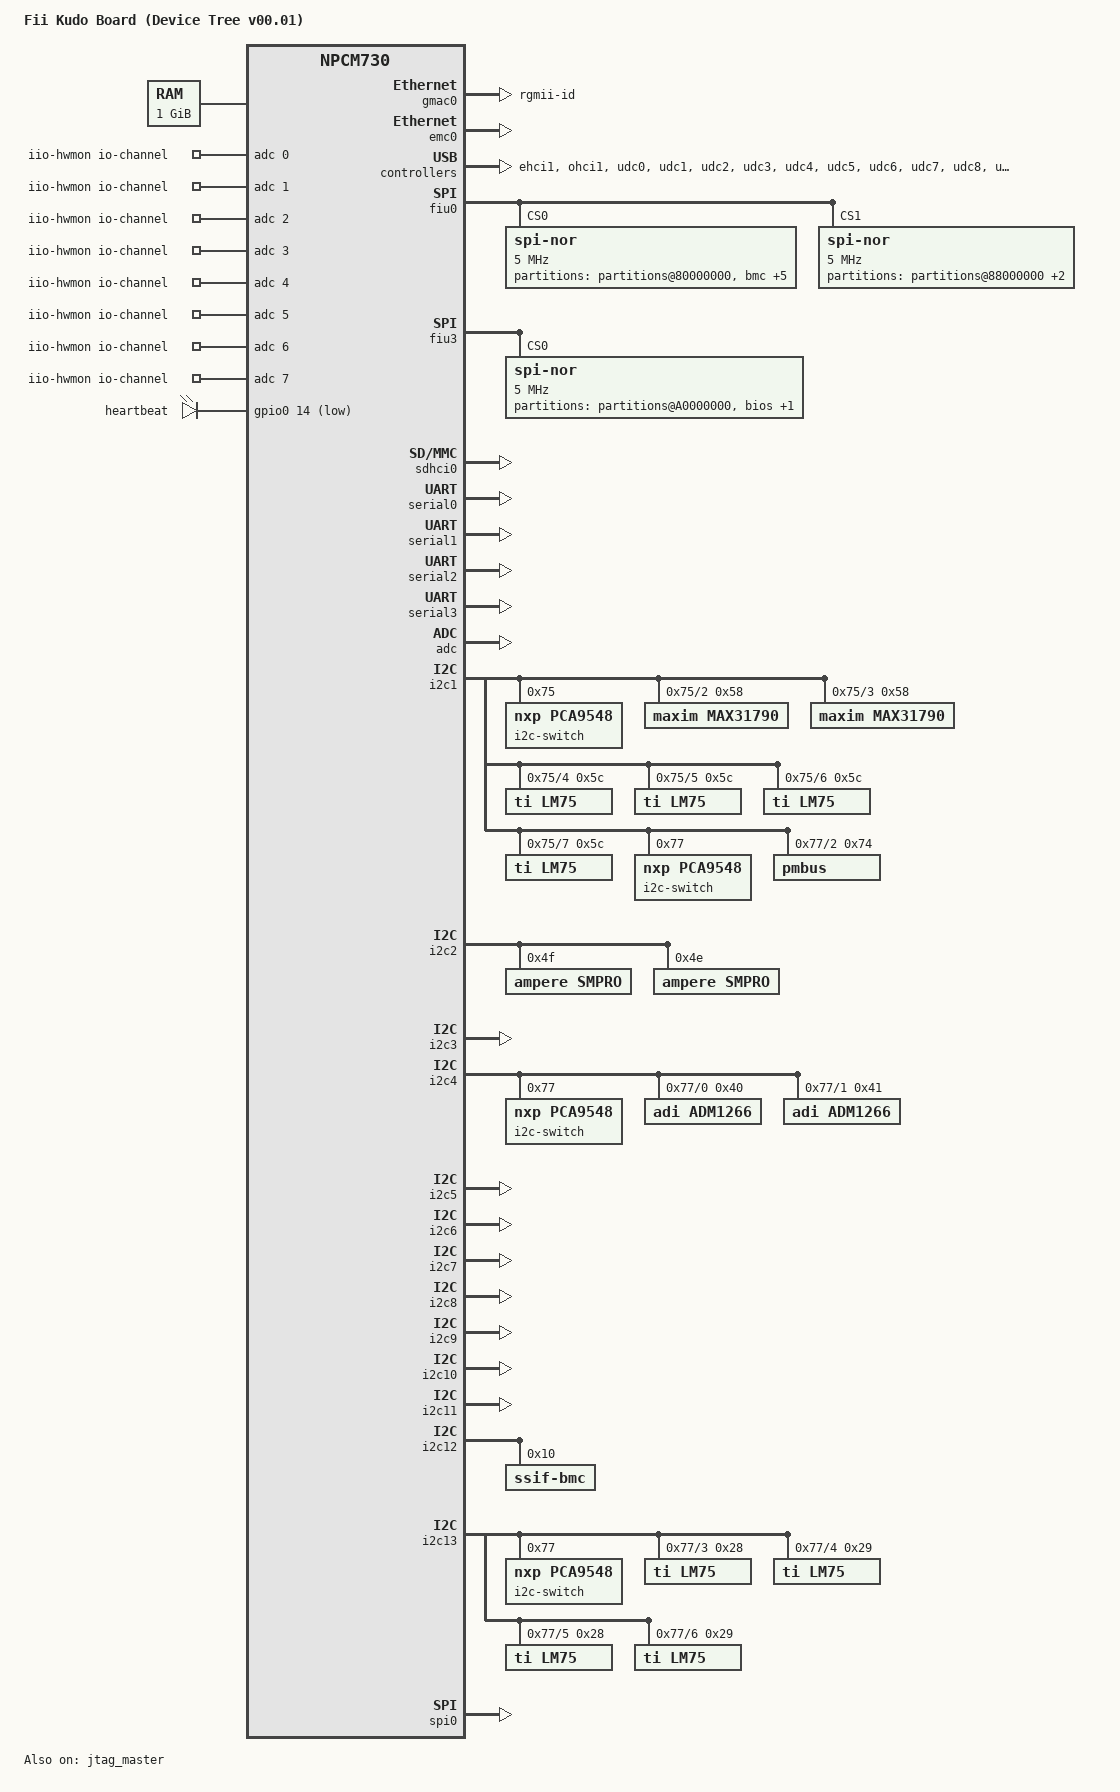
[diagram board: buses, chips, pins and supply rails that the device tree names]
// SPDX-License-Identifier: GPL-2.0
// Copyright (c) 2020 Fii USA Inc. Mustatfa Shehabi <Mustafa.Shehabi@fii-na.com>

/dts-v1/;
#include "nuvoton-npcm730.dtsi"
#include "nuvoton-npcm730-kudo-gpio.dtsi"

/ {
	model = "Fii Kudo Board (Device Tree v00.01)";
	compatible = "nuvoton,npcm730";

	aliases {
		ethernet0 = &emc0;
		ethernet1 = &gmac0;
		serial0 = &serial0;
		serial1 = &serial1;
		serial2 = &serial2;
		serial3 = &serial3;
		udc0 = &udc0;
		udc1 = &udc1;
		udc2 = &udc2;
		udc3 = &udc3;
		udc4 = &udc4;
		udc5 = &udc5;
		udc6 = &udc6;
		udc7 = &udc7;
		udc8 = &udc8;
		udc9 = &udc9;
		emmc0 = &sdhci0;
		vdma = &vdma;
		i2c0 = &i2c0;
		i2c1 = &i2c1;
		i2c2 = &i2c2;
		i2c3 = &i2c3;
		i2c4 = &i2c4;
		i2c5 = &i2c5;
		i2c6 = &i2c6;
		i2c7 = &i2c7;
		i2c8 = &i2c8;
		i2c9 = &i2c9;
		i2c10 = &i2c10;
		i2c11 = &i2c11;
		i2c12 = &i2c12;
		i2c13 = &i2c13;
		spi0 = &spi0;
		spi1 = &spi1;
		fiu0 = &fiu0;
		fiu1 = &fiu3;
	};

	chosen {
		stdout-path = &serial3;
	};

	memory {
		reg = <0 0x40000000>;
	};

	iio-hwmon {
		compatible = "iio-hwmon";
		io-channels = <&adc 0>, <&adc 1>, <&adc 2>, <&adc 3>,
			<&adc 4>, <&adc 5>, <&adc 6>, <&adc 7>;
	};

	jtag_master {
		compatible = "nuvoton,npcm750-jtag-master";
		#address-cells = <1>;
		#size-cells = <1>;

		dev-num = <0>; /* /dev/jtag0 */
		mode = "pspi"; /* pspi or gpio */

		pspi-controller = <2>; /* pspi2 */
		reg = <0xf0201000 0x1000>;
		interrupts = <GIC_SPI 28 IRQ_TYPE_LEVEL_HIGH>;
		clocks = <&clk NPCM7XX_CLK_APB5>;

		jtag-gpios = <&gpio0 19 GPIO_ACTIVE_HIGH>, /* TCK */
				<&gpio0 18 GPIO_ACTIVE_HIGH>, /* TDI */
				<&gpio0 17 GPIO_ACTIVE_HIGH>, /* TDO */
				<&gpio0 16 GPIO_ACTIVE_HIGH>; /* TMS */
		status = "okay";
	};

	ahb {
		gmac0: eth@f0802000 {
			phy-mode = "rgmii-id";
			snps,eee-force-disable;
			status = "okay";
		};

		emc0: eth@f0825000 {
			status = "okay";
		};

		ehci1: usb@f0806000 {
			status = "okay";
		};

		ohci1: ohci@f0807000 {
			status = "okay";
		};

		udc0: udc@f0830000 {
			status = "okay";
		};

		udc1: udc@f0831000 {
			status = "okay";
		};

		udc2: udc@f0832000 {
			status = "okay";
		};

		udc3: udc@f0833000 {
			status = "okay";
		};

		udc4: udc@f0834000 {
			status = "okay";
		};

		udc5: udc@f0835000 {
			status = "okay";
		};

		udc6: udc@f0836000 {
			status = "okay";
		};

		udc7: udc@f0837000 {
			status = "okay";
		};

		udc8: udc@f0838000 {
			status = "okay";
		};

		udc9: udc@f0839000 {
			status = "okay";
		};

		aes: aes@f0858000 {
			status = "okay";
		};

		sha: sha@f085a000 {
			status = "okay";
		};

		fiu0: spi@fb000000 {
			pinctrl-names = "default";
			pinctrl-0 = <&spi0cs1_pins>;
			status = "okay";
			spi-nor@0 {
				compatible = "jedec,spi-nor";
				#address-cells = <1>;
				#size-cells = <1>;
				reg = <0>;
				spi-max-frequency = <5000000>;
				spi-rx-bus-width = <2>;
				partitions@80000000 {
					compatible = "fixed-partitions";
					#address-cells = <1>;
					#size-cells = <1>;
					bmc@0{
						label = "bmc";
						reg = <0x000000 0x2000000>;
					};
					u-boot@0 {
						label = "u-boot";
						reg = <0x0000000 0xC0000>;
						read-only;
					};
					u-boot-env@100000{
						label = "u-boot-env";
						reg = <0x00100000 0x40000>;
					};
					kernel@200000 {
						label = "kernel";
						reg = <0x0200000 0x600000>;
					};
					rofs@800000 {
						label = "rofs";
						reg = <0x800000 0x3500000>;
					};
					rwfs@1d00000 {
						label = "rwfs";
						reg = <0x3d00000 0x300000>;
					};
				};
			};
			spi-nor@1 {
				compatible = "jedec,spi-nor";
				#address-cells = <1>;
				#size-cells = <1>;
				reg = <1>;
				spi-max-frequency = <5000000>;
				spi-rx-bus-width = <2>;
				partitions@88000000 {
					compatible = "fixed-partitions";
					#address-cells = <1>;
					#size-cells = <1>;
					spare1@0 {
						label = "spi0-cs1-spare1";
						reg = <0x0 0x800000>;
					};
					spare2@800000 {
						label = "spi0-cs1-spare2";
						reg = <0x800000 0x0>;
					};
				};
			};
		};

		fiu3: spi@c0000000 {
			pinctrl-0 = <&spi3_pins>;
			status = "okay";
			spi-nor@0 {
				compatible = "jedec,spi-nor";
				#address-cells = <1>;
				#size-cells = <1>;
				reg = <0>;
				spi-max-frequency = <5000000>;
				spi-rx-bus-width = <2>;
				partitions@A0000000 {
					compatible = "fixed-partitions";
					#address-cells = <1>;
					#size-cells = <1>;
					system1@0 {
						label = "bios";
						reg = <0x0 0x0>;
					};
					system2@800000 {
						label = "spi3-system2";
						reg = <0x800000 0x0>;
					};
				};
			};
		};

		sdhci0: sdhci@f0842000 {
			status = "okay";
		};

		vdma: vdma@e0800000 {
			status = "okay";
		};

		pcimbox: pcimbox@f0848000 {
			status = "okay";
		};

		vcd: vcd@f0810000 {
			status = "okay";
		};

		ece: ece@f0820000 {
			status = "okay";
		};

		apb {

			watchdog1: watchdog@901C {
				status = "okay";
			};

			rng: rng@b000 {
				status = "okay";
			};

			serial0: serial@1000 {
				status = "okay";
			};

			serial1: serial@2000 {
				status = "okay";
			};

			serial2: serial@3000 {
				status = "okay";
			};

			serial3: serial@4000 {
				status = "okay";
			};

			adc: adc@c000 {
				#io-channel-cells = <1>;
				status = "okay";
			};

			otp:otp@189000 {
				status = "okay";
			};

			i2c0: i2c@80000 {
				#address-cells = <1>;
				#size-cells = <0>;
				bus-frequency = <100000>;
				status = "disabled";
			};

			i2c1: i2c@81000 {
				#address-cells = <1>;
				#size-cells = <0>;
				bus-frequency = <100000>;
				status = "okay";

				i2c-switch@75 {
					compatible = "nxp,pca9548";
					#address-cells = <1>;
					#size-cells = <0>;
					reg = <0x75>;
					i2c-mux-idle-disconnect;

					i2c@2 {
						#address-cells = <1>;
						#size-cells = <0>;
						reg = <2>;

						max31790@58 {// Fan 
							compatible = "maxim,max31790";
							reg = <0x58>;
						};
					};

					i2c@3 {
						#address-cells = <1>;
						#size-cells = <0>;
						reg = <3>;

						max31790@58 { // Fan 
							compatible = "maxim,max31790";
							reg = <0x58>;
						};
					};

					i2c-bus@4 {
						#address-cells = <1>;
						#size-cells = <0>;
						reg = <4>;

						lm75@5c {//INLET1_T
							compatible = "ti,lm75";
							reg = <0x5c>;
						};
					};

					i2c-bus@5 {//OUTLET1_T
						#address-cells = <1>;
						#size-cells = <0>;
						reg = <5>;

						lm75@5c {
							compatible = "ti,lm75";
							reg = <0x5c>;
						};
					};

					i2c-bus@6 {//OUTLET2_T
						#address-cells = <1>;
						#size-cells = <0>;
						reg = <6>;

						lm75@5c {
							compatible = "ti,lm75";
							reg = <0x5c>;
						};
					};

					i2c-bus@7 {//OUTLET3_T
						#address-cells = <1>;
						#size-cells = <0>;
						reg = <7>;

						lm75@5c {
							compatible = "ti,lm75";
							reg = <0x5c>;
						};
					};
				};
				i2c-switch@77 {
					compatible = "nxp,pca9548";
					#address-cells = <1>;
					#size-cells = <0>;
					reg = <0x77>;
					i2c-mux-idle-disconnect;

					i2c-bus@2 {
						#address-cells = <1>;
						#size-cells = <0>;
						reg = <2>;

						pmbus@74 { // STB-T
							compatible = "pmbus";
							reg = <0x74>;
						};
					};
				};
			};

			i2c2: i2c@82000 {
				#address-cells = <1>;
				#size-cells = <0>;
				bus-frequency = <100000>;
				status = "okay";
				
				smpro@4f {
					compatible = "ampere,smpro";
					reg = <0x4f>;
				};

				smpro@4e {
					compatible = "ampere,smpro";
					reg = <0x4e>;
				};
			};

			i2c3: i2c@83000 {
				#address-cells = <1>;
				#size-cells = <0>;
				bus-frequency = <100000>;
				status = "okay";
			};

			i2c4: i2c@84000 {
				#address-cells = <1>;
				#size-cells = <0>;
				bus-frequency = <100000>;
				status = "okay";

				i2c-switch@77 {
					compatible = "nxp,pca9548";
					#address-cells = <1>;
					#size-cells = <0>;
					reg = <0x77>;
					i2c-mux-idle-disconnect;

					i2c-bus@0 {
						#address-cells = <1>;
						#size-cells = <0>;
						reg = <0>;

						adm1266@40 { // ADC sensors
							compatible = "adi,adm1266";
							reg = <0x40>;
						};
					};

					i2c-bus@1 {
						#address-cells = <1>;
						#size-cells = <0>;
						reg = <1>;

						adm1266@41 { // ADC sensors
							compatible = "adi,adm1266";
							reg = <0x41>;
						};
					};
				};
			};

			i2c5: i2c@85000 {
				#address-cells = <1>;
				#size-cells = <0>;
				bus-frequency = <100000>;
				status = "okay";
			};

			i2c6: i2c@86000 {
				#address-cells = <1>;
				#size-cells = <0>;
				bus-frequency = <100000>;
				status = "okay";
			};

			i2c7: i2c@87000 {
				#address-cells = <1>;
				#size-cells = <0>;
				bus-frequency = <100000>;
				status = "okay";
			};

			i2c8: i2c@88000 {
				#address-cells = <1>;
				#size-cells = <0>;
				bus-frequency = <100000>;
				status = "okay";
			};

			i2c9: i2c@89000 {
				#address-cells = <1>;
				#size-cells = <0>;
				bus-frequency = <100000>;
				status = "okay";
			};

			i2c10: i2c@8a000 {
				#address-cells = <1>;
				#size-cells = <0>;
				bus-frequency = <100000>;
				status = "okay";
			};

			i2c11: i2c@8b000 {
				#address-cells = <1>;
				#size-cells = <0>;
				bus-frequency = <100000>;
				status = "okay";
			};

			i2c12: i2c@8c000 {
				#address-cells = <1>;
				#size-cells = <0>;
				bus-frequency = <100000>;
				status = "okay";

				ssif-bmc@10 {
					compatible = "ssif-bmc";
					reg = <0x10>;
					status = "okay";
				};
			};

			i2c13: i2c@8d000 {
				#address-cells = <1>;
				#size-cells = <0>;
				bus-frequency = <100000>;
				status = "okay";

				i2c-switch@77 {
					compatible = "nxp,pca9548";
					#address-cells = <1>;
					#size-cells = <0>;
					reg = <0x77>;
					i2c-mux-idle-disconnect;

					i2c-bus@3 {
						#address-cells = <1>;
						#size-cells = <0>;
						reg = <3>;

						lm75@28 {//M2_ZONE_T
							compatible = "ti,lm75";
							reg = <0x28>;
						};
					};

					i2c-bus@4 {
						#address-cells = <1>;
						#size-cells = <0>;
						reg = <4>;

						lm75@29 {//BATT_ZONE_T
							compatible = "ti,lm75";
							reg = <0x29>;
						};
					};

					i2c-bus@5 {
						#address-cells = <1>;
						#size-cells = <0>;
						reg = <5>;

						lm75@28 {//NBM1_ZONE_T
							compatible = "ti,lm75";
							reg = <0x28>;
						};
					};
					i2c-bus@6 {
						#address-cells = <1>;
						#size-cells = <0>;
						reg = <6>;

						lm75@29 {//NBM2_ZONE_T
							compatible = "ti,lm75";
							reg = <0x29>;
						};
					};
				};
			};

			spi0: spi@200000 {
				cs-gpios = <&gpio6 11 GPIO_ACTIVE_LOW>;
				status = "okay";
			};

			spi1: spi@201000 {
				status = "disabled";
			};
		};
	};

	pinctrl: pinctrl@f0800000 {
		pinctrl-names = "default";
		pinctrl-0 = <
				&gpio61oh_pins
				&gpio62oh_pins
				&gpio161ol_pins
				&gpio163i_pins
				&gpio167ol_pins
				&gpio95i_pins
				&gpio65ol_pins
				&gpio66oh_pins
				&gpio67oh_pins
				&gpio68ol_pins
				&gpio69i_pins
				&gpio70ol_pins
				&gpio71i_pins
				&gpio72i_pins
				&gpio73i_pins
				&gpio74i_pins
				&gpio75i_pins
				&gpio76i_pins
				&gpio77i_pins
				&gpio78i_pins
				&gpio79ol_pins
				&gpio80oh_pins
				&gpio81i_pins
				&gpio82i_pins
				&gpio83i_pins
				&gpio144i_pins
				&gpio145i_pins
				&gpio146i_pins
				&gpio147oh_pins
				&gpio168ol_pins
				&gpio169oh_pins
				&gpio170ol_pins
				&gpio218oh_pins
				&gpio37i_pins
				&gpio38i_pins
				&gpio39i_pins
				&gpio40i_pins
				&gpio121i_pins
				&gpio122i_pins
				&gpio123i_pins
				&gpio124i_pins
				&gpio125i_pins
				&gpio126i_pins
				&gpio127i_pins
				&gpio136i_pins
				&gpio137oh_pins
				&gpio138i_pins
				&gpio139i_pins
				&gpio140i_pins
				&gpio141i_pins
				&gpio190oh_pins
				&gpio191oh_pins
				&gpio195ol_pins
				&gpio196ol_pins
				&gpio199i_pins
				&gpio202ol_pins
				>;
	};

	leds {
		compatible = "gpio-leds";
		heartbeat {
		label = "heartbeat";
			gpios = <&gpio0 14 1>;
		};
	};

};

&gcr {
	serial_port_mux: mux-controller {
	compatible = "mmio-mux";
	#mux-control-cells = <1>;

	mux-reg-masks = <0x38 0x07>;
	idle-states = <6>;
	};
};
